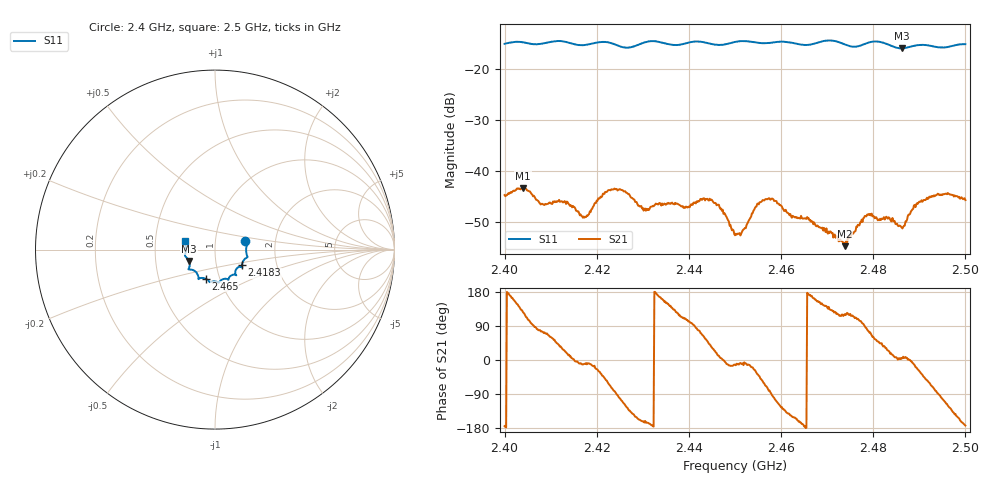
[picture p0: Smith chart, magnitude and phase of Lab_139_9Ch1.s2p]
# Hz S RI R 50
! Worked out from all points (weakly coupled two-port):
!   601 points, 2.4 GHz to 2.5 GHz, reference 50 ohm
!   highest |S21| = -43.38 dB at 2.404 GHz (marker M1); lowest = -54.7 dB at 2.4738 GHz (marker M2)
!   lowest |S11| = -16.0 dB at 2.4862 GHz (marker M3), VSWR 1.38, Z = 37.1 - j4.83 ohm
!   |S11| at or under -10 dB: start of sweep to end of sweep
!   S12 and S22 are empty: the file has one direction only
!   S11 on the Smith chart (normalised r, x): 2.4 GHz: 1.40, +0.13; 2.4183 GHz: 1.33, -0.24; 2.465 GHz: 0.86, -0.29; 2.5 GHz: 0.71, +0.07
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2.4e9  0.1688 0.0459  -0.00577 -0.000556  0 0  0 0
2.404e9  0.179 0.0271  -0.00398 0.00548  0 0  0 0
2.408e9  0.1744 -0.016  0.00116 0.00461  0 0  0 0
2.413333e9  0.1767 -0.045  0.00445 0.00165  0 0  0 0
2.416667e9  0.1551 -0.0683  0.00358 -0.000628  0 0  0 0
2.418333e9  0.1499 -0.0868  0.00373 -0.000587  0 0  0 0
2.423667e9  0.145 -0.0968  0.00105 -0.00651  0 0  0 0
2.430333e9  0.1149 -0.1388  -0.00409 -0.0011  0 0  0 0
2.433333e9  0.1169 -0.1412  -0.00461 0.000854  0 0  0 0
2.4445e9  0.0653 -0.1634  0.00401 0.00352  0 0  0 0
2.45e9  0.0253 -0.1806  0.00228 -0.000526  0 0  0 0
2.451667e9  0.0214 -0.1847  0.00259 -0.000388  0 0  0 0
2.457e9  -0.00996 -0.1773  0.00156 -0.00503  0 0  0 0
2.465e9  -0.0528 -0.1621  -0.00342 -0.000283  0 0  0 0
2.466667e9  -0.0713 -0.1576  -0.00316 0.000604  0 0  0 0
2.473833e9  -0.0947 -0.1441  -0.000941 0.00157  0 0  0 0
2.4785e9  -0.138 -0.1106  0.000346 0.00357  0 0  0 0
2.483333e9  -0.1422 -0.096  0.00321 0.00143  0 0  0 0
2.486167e9  -0.1446 -0.0634  0.00278 0.000252  0 0  0 0
2.489333e9  -0.1641 -0.0394  0.00443 -0.0016  0 0  0 0
2.492667e9  -0.1649 -0.0222  0.00206 -0.00518  0 0  0 0
2.5e9  -0.1671 0.0471  -0.00513 -0.000632  0 0  0 0
